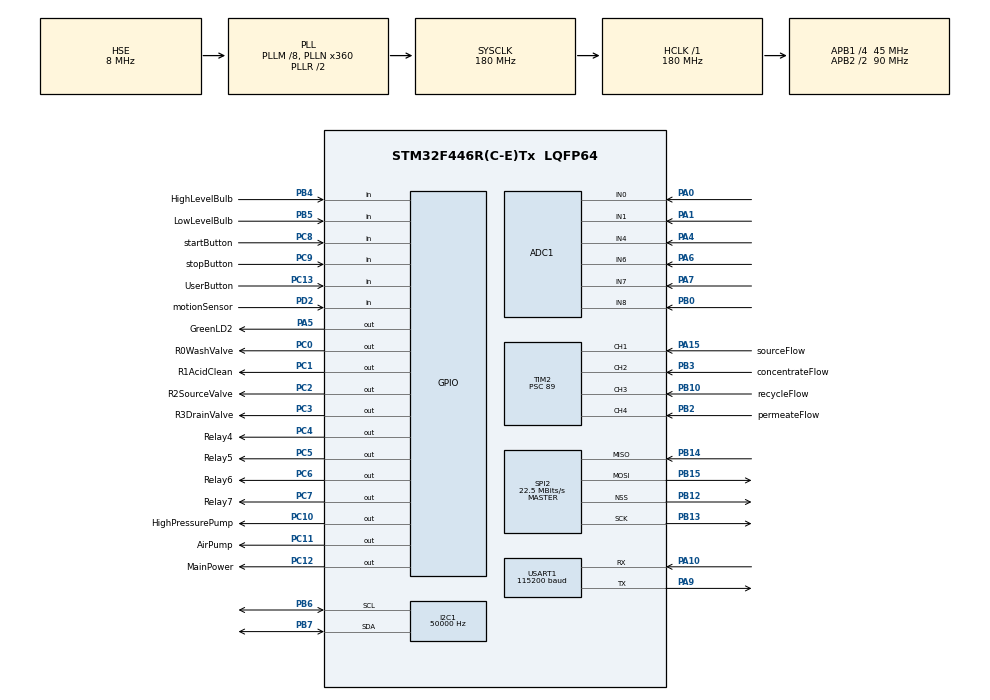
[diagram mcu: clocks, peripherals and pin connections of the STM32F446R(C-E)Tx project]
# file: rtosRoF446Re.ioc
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ADC1.Channel-0\#ChannelRegularConversion=ADC_CHANNEL_0
ADC1.Channel-1\#ChannelRegularConversion=ADC_CHANNEL_1
ADC1.Channel-2\#ChannelRegularConversion=ADC_CHANNEL_4
ADC1.Channel-3\#ChannelRegularConversion=ADC_CHANNEL_6
ADC1.Channel-4\#ChannelRegularConversion=ADC_CHANNEL_7
ADC1.Channel-5\#ChannelRegularConversion=ADC_CHANNEL_8
ADC1.ContinuousConvMode=ENABLE
ADC1.DMAContinuousRequests=ENABLE
ADC1.EOCSelection=ADC_EOC_SEQ_CONV
ADC1.NbrOfConversion=6
ADC1.NbrOfConversionFlag=1
ADC1.Rank-0\#ChannelRegularConversion=1
ADC1.Rank-1\#ChannelRegularConversion=2
ADC1.Rank-2\#ChannelRegularConversion=3
ADC1.Rank-3\#ChannelRegularConversion=4
ADC1.Rank-4\#ChannelRegularConversion=5
ADC1.Rank-5\#ChannelRegularConversion=6
ADC1.SamplingTime-0\#ChannelRegularConversion=ADC_SAMPLETIME_112CYCLES
ADC1.SamplingTime-1\#ChannelRegularConversion=ADC_SAMPLETIME_112CYCLES
ADC1.SamplingTime-2\#ChannelRegularConversion=ADC_SAMPLETIME_112CYCLES
ADC1.SamplingTime-3\#ChannelRegularConversion=ADC_SAMPLETIME_56CYCLES
ADC1.SamplingTime-4\#ChannelRegularConversion=ADC_SAMPLETIME_112CYCLES
ADC1.SamplingTime-5\#ChannelRegularConversion=ADC_SAMPLETIME_112CYCLES
ADC1.master=1
Dma.ADC1.0.Direction=DMA_PERIPH_TO_MEMORY
Dma.ADC1.0.FIFOMode=DMA_FIFOMODE_DISABLE
Dma.ADC1.0.Instance=DMA2_Stream0
Dma.ADC1.0.MemDataAlignment=DMA_MDATAALIGN_HALFWORD
Dma.ADC1.0.MemInc=DMA_MINC_ENABLE
Dma.ADC1.0.Mode=DMA_NORMAL
Dma.ADC1.0.PeriphDataAlignment=DMA_PDATAALIGN_HALFWORD
Dma.ADC1.0.PeriphInc=DMA_PINC_DISABLE
Dma.ADC1.0.Priority=DMA_PRIORITY_LOW
Dma.Request0=ADC1
FREERTOS.HEAP_NUMBER=4
FREERTOS.Tasks01=defaultTask,24,128,StartDefaultTask,Default,NULL,Dynamic,NULL,NULL;inputs,24,128,StartInputs,Default,NULL,Dynamic,NULL,NULL;adc,24,128,StartAdc,Default,NULL,Dynamic,NULL,NULL;getFlowsTask,24,128,StartGetFlows,Default,NULL,Dynamic,NULL,NULL;checkValues,24,500,StartCheckValues,Default,NULL,Dynamic,NULL,NULL;usart,24,500,StartUsart,Default,NULL,Dynamic,NULL,NULL;lcd,24,500,StartLcd,Default,NULL,Dynamic,NULL,NULL
FREERTOS.configCHECK_FOR_STACK_OVERFLOW=2
FREERTOS.configENABLE_FPU=1
FREERTOS.configGENERATE_RUN_TIME_STATS=0
FREERTOS.configMINIMAL_STACK_SIZE=128
FREERTOS.configTOTAL_HEAP_SIZE=15360
I2C1.ClockSpeed=50000
I2C1.I2C_Mode=I2C_Standard
I2C1.NoStretchMode=I2C_NOSTRETCH_DISABLE
IWDG.Prescaler=IWDG_PRESCALER_16
Mcu.Family=STM32F4
Mcu.Name=STM32F446R(C-E)Tx
Mcu.Package=LQFP64
NVIC.DMA2_Stream0_IRQn=true\:5\:0\:false\:false\:true\:true\:false\:true
NVIC.I2C1_ER_IRQn=true\:5\:0\:false\:false\:true\:true\:true\:true
NVIC.I2C1_EV_IRQn=true\:5\:0\:false\:false\:true\:true\:true\:true
NVIC.PriorityGroup=NVIC_PRIORITYGROUP_4
NVIC.TIM2_IRQn=true\:5\:0\:false\:false\:true\:true\:true\:true
NVIC.TIM6_DAC_IRQn=true\:0\:0\:false\:false\:true\:false\:false\:true
NVIC.TIM7_IRQn=true\:5\:0\:false\:false\:true\:true\:true\:true
NVIC.TimeBase=TIM6_DAC_IRQn
NVIC.TimeBaseIP=TIM6
NVIC.USART1_IRQn=true\:6\:0\:true\:false\:true\:true\:true\:true
PA0-WKUP.Signal=ADCx_IN0
PA1.Signal=ADCx_IN1
PA10.Mode=Asynchronous
PA10.Signal=USART1_RX
PA13.Mode=Serial_Wire
PA13.Signal=SYS_JTMS-SWDIO
PA14.Mode=Serial_Wire
PA14.Signal=SYS_JTCK-SWCLK
PA15.GPIO_Label=sourceFlow
PA15.GPIO_PuPd=GPIO_PULLDOWN
PA15.Signal=S_TIM2_CH1_ETR
PA4.Signal=ADCx_IN4
PA5.GPIO_Label=GreenLD2
PA5.Signal=GPIO_Output
PA6.Signal=ADCx_IN6
PA7.Signal=ADCx_IN7
PA9.Mode=Asynchronous
PA9.Signal=USART1_TX
PB0.Signal=ADCx_IN8
PB10.GPIO_Label=recycleFlow
PB10.GPIO_PuPd=GPIO_PULLDOWN
PB10.Signal=S_TIM2_CH3
PB12.Mode=NSS_Signal_Hard_Output
PB12.Signal=SPI2_NSS
PB13.Mode=Full_Duplex_Master
PB13.Signal=SPI2_SCK
PB14.Mode=Full_Duplex_Master
PB14.Signal=SPI2_MISO
PB15.Mode=Full_Duplex_Master
PB15.Signal=SPI2_MOSI
PB2.GPIO_Label=permeateFlow
PB2.GPIO_PuPd=GPIO_PULLDOWN
PB2.Signal=S_TIM2_CH4
PB3.GPIO_Label=concentrateFlow
PB3.GPIO_PuPd=GPIO_PULLDOWN
PB3.Signal=S_TIM2_CH2
PB4.GPIO_Label=HighLevelBulb
PB4.GPIO_PuPd=GPIO_PULLUP
PB4.Signal=GPIO_Input
PB5.GPIO_Label=LowLevelBulb
PB5.GPIO_PuPd=GPIO_PULLUP
PB5.Signal=GPIO_Input
PB6.GPIO_Pu=GPIO_PULLUP
PB6.GPIO_Speed=GPIO_SPEED_FREQ_MEDIUM
PB6.Mode=I2C
PB6.Signal=I2C1_SCL
PB7.GPIO_Pu=GPIO_PULLUP
PB7.GPIO_Speed=GPIO_SPEED_FREQ_MEDIUM
PB7.Mode=I2C
PB7.Signal=I2C1_SDA
PC0.GPIO_Label=R0WashValve
PC0.GPIO_PuPd=GPIO_PULLUP
PC0.PinState=GPIO_PIN_SET
PC0.Signal=GPIO_Output
PC1.GPIO_Label=R1AcidClean
PC1.GPIO_PuPd=GPIO_PULLUP
PC1.PinState=GPIO_PIN_SET
PC1.Signal=GPIO_Output
PC10.GPIO_Label=HighPressurePump
PC10.GPIO_PuPd=GPIO_PULLUP
PC10.PinState=GPIO_PIN_SET
PC10.Signal=GPIO_Output
PC11.GPIO_Label=AirPump
PC11.GPIO_PuPd=GPIO_PULLUP
PC11.PinState=GPIO_PIN_SET
PC11.Signal=GPIO_Output
PC12.GPIO_Label=MainPower
PC12.GPIO_PuPd=GPIO_PULLUP
PC12.PinState=GPIO_PIN_SET
PC12.Signal=GPIO_Output
PC13.GPIO_Label=UserButton
PC13.Signal=GPIO_Input
PC2.GPIO_Label=R2SourceValve
PC2.GPIO_PuPd=GPIO_PULLUP
PC2.PinState=GPIO_PIN_SET
PC2.Signal=GPIO_Output
PC3.GPIO_Label=R3DrainValve
PC3.GPIO_PuPd=GPIO_PULLUP
PC3.PinState=GPIO_PIN_SET
PC3.Signal=GPIO_Output
PC4.GPIO_Label=Relay4
PC4.GPIO_PuPd=GPIO_PULLUP
PC4.PinState=GPIO_PIN_SET
PC4.Signal=GPIO_Output
PC5.GPIO_Label=Relay5
PC5.GPIO_PuPd=GPIO_PULLUP
PC5.PinState=GPIO_PIN_SET
PC5.Signal=GPIO_Output
PC6.GPIO_Label=Relay6
PC6.GPIO_PuPd=GPIO_PULLUP
PC6.PinState=GPIO_PIN_SET
PC6.Signal=GPIO_Output
PC7.GPIO_Label=Relay7
PC7.GPIO_PuPd=GPIO_PULLUP
PC7.PinState=GPIO_PIN_SET
PC7.Signal=GPIO_Output
PC8.GPIO_Label=startButton
PC8.GPIO_PuPd=GPIO_PULLUP
PC8.Signal=GPIO_Input
PC9.GPIO_Label=stopButton
PC9.GPIO_PuPd=GPIO_PULLUP
PC9.Signal=GPIO_Input
PD2.GPIO_Label=motionSensor
PD2.GPIO_PuPd=GPIO_PULLDOWN
PD2.Signal=GPIO_Input
PH0-OSC_IN.Mode=HSE-External-Clock-Source
PH0-OSC_IN.Signal=RCC_OSC_IN
PH1-OSC_OUT.Mode=HSE-External-Clock-Source
PH1-OSC_OUT.Signal=RCC_OSC_OUT
ProjectManager.HeapSize=0x200
ProjectManager.StackSize=0x400
ProjectManager.TargetToolchain=STM32CubeIDE
RCC.AHBFreq_Value=180000000
RCC.APB1CLKDivider=RCC_HCLK_DIV4
RCC.APB1Freq_Value=45000000
RCC.APB1TimFreq_Value=90000000
RCC.APB2CLKDivider=RCC_HCLK_DIV2
RCC.APB2Freq_Value=90000000
RCC.APB2TimFreq_Value=180000000
RCC.CortexFreq_Value=180000000
RCC.HCLKFreq_Value=180000000
RCC.HSE_VALUE=8000000
RCC.PLLM=8
RCC.PLLN=360
RCC.PLLSourceVirtual=RCC_PLLSOURCE_HSE
RCC.RCC_RTC_Clock_SourceVirtual=RCC_RTCCLKSOURCE_LSE
RCC.SYSCLKFreq_VALUE=180000000
RCC.SYSCLKSource=RCC_SYSCLKSOURCE_PLLRCLK
RCC.USBFreq_Value=180000000
RCC.VCOOutputFreq_Value=360000000
SH.ADCx_IN0.0=ADC1_IN0,IN0
SH.ADCx_IN1.0=ADC1_IN1,IN1
SH.ADCx_IN4.0=ADC1_IN4,IN4
SH.ADCx_IN6.0=ADC1_IN6,IN6
SH.ADCx_IN7.0=ADC1_IN7,IN7
SH.ADCx_IN8.0=ADC1_IN8,IN8
SH.S_TIM2_CH1_ETR.0=TIM2_CH1,Input_Capture1_from_TI1
SH.S_TIM2_CH2.0=TIM2_CH2,Input_Capture2_from_TI2
SH.S_TIM2_CH3.0=TIM2_CH3,Input_Capture3_from_TI3
SH.S_TIM2_CH4.0=TIM2_CH4,Input_Capture4_from_TI4
SPI2.CalculateBaudRate=22.5 MBits/s
SPI2.Direction=SPI_DIRECTION_2LINES
SPI2.Mode=SPI_MODE_MASTER
SPI2.VirtualNSS=VM_NSSHARD
SPI2.VirtualType=VM_MASTER
TIM2.Channel-Input_Capture1_from_TI1=TIM_CHANNEL_1
TIM2.Channel-Input_Capture2_from_TI2=TIM_CHANNEL_2
TIM2.Channel-Input_Capture3_from_TI3=TIM_CHANNEL_3
TIM2.Channel-Input_Capture4_from_TI4=TIM_CHANNEL_4
TIM2.ICFilter_CH1=2
TIM2.ICFilter_CH2=2
TIM2.ICFilter_CH3=2
TIM2.ICFilter_CH4=2
TIM2.Prescaler=89
TIM2.TIM_MasterOutputTrigger=TIM_TRGO_UPDATE
TIM7.AutoReloadPreload=TIM_AUTORELOAD_PRELOAD_DISABLE
TIM7.Period=5000
TIM7.Prescaler=1800
TIM7.TIM_MasterOutputTrigger=TIM_TRGO_RESET
USART1.BaudRate=115200
USART1.VirtualMode=VM_ASYNC
VP_FREERTOS_VS_CMSIS_V2.Mode=CMSIS_V2
VP_IWDG_VS_IWDG.Mode=IWDG_Activate
VP_SYS_VS_tim6.Mode=TIM6
VP_TIM7_VS_ClockSourceINT.Mode=Enable_Timer
board=custom

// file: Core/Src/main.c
/* USER CODE BEGIN Header */
/**
  ******************************************************************************
  * @file           : main.c
  * @brief          : Main program body
  ******************************************************************************
  * @attention
  *
  * <h2><center>&copy; Copyright (c) 2020 STMicroelectronics.
  * All rights reserved.</center></h2>
  *
  * This software component is licensed by ST under BSD 3-Clause license,
  * the "License"; You may not use this file except in compliance with the
  * License. You may obtain a copy of the License at:
  *                        opensource.org/licenses/BSD-3-Clause
  *
  ******************************************************************************
  */
/* USER CODE END Header */
#include "main.h"
#include "cmsis_os.h"
#include "adc.h"
#include "dma.h"
#include "i2c.h"
#include "iwdg.h"
#include "spi.h"
#include "tim.h"
#include "usart.h"
#include "gpio.h"

/* USER CODE BEGIN PV */
I2C_HandleTypeDef hi2c1;
/* USER CODE END PV */

void SystemClock_Config(void);
void MX_FREERTOS_Init(void);

int main(void)
{

  /* MCU Configuration--------------------------------------------------------*/

  /* Reset of all peripherals, Initializes the Flash interface and the Systick. */
  HAL_Init();

  /* Configure the system clock */
  SystemClock_Config();

  /* Initialize all configured peripherals */
  MX_GPIO_Init();
  MX_DMA_Init();
  MX_ADC1_Init();
  MX_TIM2_Init();
  MX_USART1_UART_Init();
  MX_I2C1_Init();
  MX_SPI2_Init();
  MX_TIM7_Init();
  MX_IWDG_Init();

  /* Init scheduler */
  osKernelInitialize();  /* Call init function for freertos objects (in freertos.c) */
  MX_FREERTOS_Init();
  /* Start scheduler */
  osKernelStart();

  /* We should never get here as control is now taken by the scheduler */
  /* Infinite loop */
  while (1)
  {

  }
}

void SystemClock_Config(void)
{
  RCC_OscInitTypeDef RCC_OscInitStruct = {0};
  RCC_ClkInitTypeDef RCC_ClkInitStruct = {0};

  /** Configure the main internal regulator output voltage
  */
  __HAL_RCC_PWR_CLK_ENABLE();
  __HAL_PWR_VOLTAGESCALING_CONFIG(PWR_REGULATOR_VOLTAGE_SCALE1);
  /** Initializes the RCC Oscillators according to the specified parameters
  * in the RCC_OscInitTypeDef structure.
  */
  RCC_OscInitStruct.OscillatorType = RCC_OSCILLATORTYPE_LSI|RCC_OSCILLATORTYPE_HSE;
  RCC_OscInitStruct.HSEState = RCC_HSE_BYPASS;
  RCC_OscInitStruct.LSIState = RCC_LSI_ON;
  RCC_OscInitStruct.PLL.PLLState = RCC_PLL_ON;
  RCC_OscInitStruct.PLL.PLLSource = RCC_PLLSOURCE_HSE;
  RCC_OscInitStruct.PLL.PLLM = 8;
  RCC_OscInitStruct.PLL.PLLN = 360;
  RCC_OscInitStruct.PLL.PLLP = RCC_PLLP_DIV2;
  RCC_OscInitStruct.PLL.PLLQ = 2;
  RCC_OscInitStruct.PLL.PLLR = 2;
  if (HAL_RCC_OscConfig(&RCC_OscInitStruct) != HAL_OK)
  {
    Error_Handler();
  }
  /** Activate the Over-Drive mode
  */
  if (HAL_PWREx_EnableOverDrive() != HAL_OK)
  {
    Error_Handler();
  }
  /** Initializes the CPU, AHB and APB buses clocks
  */
  RCC_ClkInitStruct.ClockType = RCC_CLOCKTYPE_HCLK|RCC_CLOCKTYPE_SYSCLK
                              |RCC_CLOCKTYPE_PCLK1|RCC_CLOCKTYPE_PCLK2;
  RCC_ClkInitStruct.SYSCLKSource = RCC_SYSCLKSOURCE_PLLRCLK;
  RCC_ClkInitStruct.AHBCLKDivider = RCC_SYSCLK_DIV1;
  RCC_ClkInitStruct.APB1CLKDivider = RCC_HCLK_DIV4;
  RCC_ClkInitStruct.APB2CLKDivider = RCC_HCLK_DIV2;

  if (HAL_RCC_ClockConfig(&RCC_ClkInitStruct, FLASH_LATENCY_5) != HAL_OK)
  {
    Error_Handler();
  }
}

 /**
  * @brief  Period elapsed callback in non blocking mode
  * @note   This function is called  when TIM6 interrupt took place, inside
  * HAL_TIM_IRQHandler(). It makes a direct call to HAL_IncTick() to increment
  * a global variable "uwTick" used as application time base.
  * @param  htim : TIM handle
  * @retval None
  */
void HAL_TIM_PeriodElapsedCallback(TIM_HandleTypeDef *htim)
{
  if (htim->Instance == TIM6) {
    HAL_IncTick();
  }
  /* USER CODE BEGIN Callback 1 */
  else if (htim->Instance == TIM7){
	  //HAL_GPIO_TogglePin(GPIOA,GPIO_PIN_5);
	  tim7();
  }

  /* USER CODE END Callback 1 */
}

void Error_Handler(void)
{
  __disable_irq();
  while (1)
  {
  }
}

/************************ (C) COPYRIGHT STMicroelectronics *****END OF FILE****/

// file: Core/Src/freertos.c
/* USER CODE BEGIN Header */
/**
  ******************************************************************************
  * File Name          : freertos.c
  * Description        : Code for freertos applications
  ******************************************************************************
  * @attention
  *
  * <h2><center>&copy; Copyright (c) 2020 STMicroelectronics.
  * All rights reserved.</center></h2>
  *
  * This software component is licensed by ST under Ultimate Liberty license
  * SLA0044, the "License"; You may not use this file except in compliance with
  * the License. You may obtain a copy of the License at:
  *                             www.st.com/SLA0044
  *
  ******************************************************************************
  */
/* USER CODE END Header */

#include "FreeRTOS.h"
#include "task.h"
#include "main.h"
#include "cmsis_os.h"

/* USER CODE BEGIN Includes */
#include "adc.h"
#include "dma.h"
#include "i2c.h"

#include "tim.h"
#include "usart.h"
#include "gpio.h"
#include "startStopProcedure.h"
/* USER CODE END Includes */

/* USER CODE BEGIN PTD */

//////////////LCD Light On Off Flag
ui8 LCDOnOffFlag=1;
ui8 i2cErrorFlag=0;
//////////////Inputs button Float switches and motion sensor GPIOs
typedef struct
{
GPIO_TypeDef* Port;
uint16_t Pin;
uint16_t Count;
uint16_t Cycles;
GPIO_PinState activePinState;
uint8_t inputName;
uint8_t pinState;
} portStateTypedef;

//FrequencyCalculation//
uint8_t globalTim2Flag =0;
typedef struct
{
TIM_HandleTypeDef* tim;
uint32_t channel;
uint32_t CCRx[2];
float frequence;
uint8_t namePos;
uint8_t compFlag;
uint16_t liveTime;
uint8_t sensorType;
float flow;
}frequencyCalcTypedef;
//RatesCalculation//
typedef struct
{
float regectionRate;
float recyclingRate;
float membraneFlow;
}ratesCalculationTypedef;

typedef struct
{
_RTC timeDate;
float concentrateTDS;
float permeateTDS;
float reserved;
float waterTemp;
float soufcePressure;
float membranePressure;
float sourceFlow;
float drainFlow;
float recycleFlow;
float permeateFlow;
float membraneFlow;
float recyclingRate;
float permeateRate;
uint8_t userButtonS;
uint8_t startButtonS;
uint8_t stopButtonS;

uint8_t highLevelBulbS;
uint8_t lowLevelBulbS;
uint8_t motionSensorS;

/*
          sprintf(uartStringTimeDate,(char*)format,rtc.Hour, rtc.Min, rtc.Sec, rtc.DaysOfWeek, rtc.Month, rtc.Year);
          sprintf(lcdStringTds," Concentrate TDS %.2fppm   Permeate TDS %.2fppm " " Reserved %u ",getTds(adcAverageValues[0]),getTds(adcAverageValues[1]),adcAverageValues[2]);
		  float hpressure = getPressure(adcAverageValues[5],25,1.13);
		  sprintf(lcdStringTemp,"Water temp %.2f*C  Source pressure %.2f bar  Membrane pressure %.2f bar ",getTemp(adcAverageValues[3]),getPressure(adcAverageValues[4],5,1),hpressure);
		  sprintf(lcdStringFlow1,"Source %.1f l/m  Drain %.1f l/m Recyle %.1f l/m Permeate %.1f l/m",frequences[0].flow,frequences[1].flow,frequences[2].flow,frequences[3].flow);

		  sprintf(lcdStringRates,"Membrane Flow %.1f" "l/m " "Recycling rate %.1f%% ""Permeate rate %.1f%% ",rates.membraneFlow,rates.recyclingRate,rates.regectionRate);
          sprintf(usartStringPortStates,"User button %u Start button %u Stop button %u High level bulb %u Low level bulb %u Motion sensor %u ",portStates[0].pinState,portStates[1].pinState,portStates[2].pinState, portStates[3].pinState,portStates[4].pinState,portStates[5].pinState);
*/
}sensorValuesTypedef;

sensorValuesTypedef sensorValues = {0,};

_RTC rtc = {
    .Year = 20, .Month = 12, .Date = 22,
    .DaysOfWeek = FRIDAY,
    .Hour = 4, .Min = 31, .Sec = 10
};

uint8_t regVal;
float rtcTemp;

/* USER CODE END PTD */

/* USER CODE BEGIN Variables */

const char *formatsLong[] = {
		"%02d:%02d:%02d", "%02d.%02d.%2d","Concentrate TDS %.2fppm","Permeate TDS %.2fppm","Reserved %.2f",
		"Water temp %.2f*C","Source pressure %.2f bar","Membrane pressure %.2f bar",
		"Source %.2f l/m","Drain %.2f l/m","Recyle %.2f l/m","Permeate %.2f l/m",
		"Membrane Flow %.1f l/m ","Recycling rate %.1f%%","Permeate rate %.1f%%",
		"User button %u","Start button %u","Stop button %u","High level bulb %u","Low level bulb %u","Motion sensor %u"

};

const char *formatsShort[] = {
		"%02d:%02d:%02d  %02d.%02d.20%2d", //0
		"Atendado        TDS",//1
		"Concentrate %.1fppm",//2
		"Permeate %.1fppm   ",//3
		"Reserved %.2f      ",//4
		"Membr pres %.2f MPa",//5
		"Water temp %.2f C  ",//6
        "Feed press %.2f MPa",//7

		"Feed %.2f l/m       ",//8
		"Drain %.2f l/m      ",//9
		"Recycle %.2f l/m    ",//10
		"Permeate %.2f l/m   ",//11
		"Membrane %.2f l/m   ",//12
		"Recycling %.2f%%    ",//13
		"Permeate %.2f%%     ",//14
		"     Input states   ",//15
		"Blue button %u      ",//16
		"Start %u Stop %u    ",//17
		"High %u Low %u float",//18
		"Motion sensor %u    ",//19
		"En progreso      TDS", //20
		"Atendado  AUTO   TDS",//21
		"Atendado  MANUAL TDS",//22
		"En progreso AUTO TDS",//23
		"En progreso  MAN TDS"//24

};

//char stringArrau[80] = {0,};

char window[20][30] = {
       // 012345678901234567890123456789
		{"00:00:00   0.00.2000"},
		{"  row1              "},
		{"  row2              "},
		{"  row3              "},
	    {"  row4              "},
		{"  row5              "},
	    {"  row6              "},

};

//typedef struct
//{
	//uint8_t formatNum;
//	char param[20];

//}sensorVariaTypedef;

//sensorVariaTypedef sensorV[20];

//typedef struct
//{

//	ui8 x;
//	ui8 y;
//	ui8 length;
//char value[];
//}strSensorValuesTypedef;

//strSensorValuesTypedef stringSensorValues[20];

float sensorValuesArr[13]={0,};
uint8_t sensorValuesArrLenght = 13;

uint8_t i2cFlag=1;
uint8_t LCD_IniTryingInterval =2;
uint8_t LCD_IniTryingIntervalInitialValue = 20;

uint16_t cycles =500; //number of read input pin cycles to generate inputActiveLevel
portStateTypedef portStates[6] = {0};
uint16_t portStatesLenght = 6;
char lcdStringTime[20]={0,};
char lcdString[20]={0};
char lcdStringT[20]={0,};
char lcdStringTm[20]={0,};
char lcdStringF[20]={0,};
char lcdWindow[80][20]={0,};
char *str[20]={0,};
ui8 lcdWindowRenewalFlag=0;
uint8_t lcdWindowString[20]={0,};

uint8_t usartString[1000]={0,};
uint32_t usartStringLen = 1000;
char usartStringTmp[100] = {0,};
uint16_t timeRenovationPeriod = 100; // osDelau Units*10 (500)

uint8_t uartFlag=0;
char* timePtr=0;
char uartStringTimeDate[100]={0,};
char usartStringPortStates[100]={0,};
char lcdStringTds[100]={0,};
char lcdStringTemp[100]={0,};
char lcdStringFlow1[100]={0,};
char lcdStringRates[100]={0,};

////////////////////////////////////////////////////////////////////////////////////
frequencyCalcTypedef frequences[4]={0};
uint8_t frequencesLength = 4;
uint32_t sysClock = 180000000;
uint32_t dividend=1000000;
uint16_t timeUnactivityToClearFrequency = 10;//osDelay Units*10 1/100 sec
ratesCalculationTypedef rates={0};

//ADC
uint16_t adcChannelsValues[30]={0,};
uint32_t lengthOfAdcChannelsValues = 30;
uint8_t adcReadyFlag=0;
uint16_t adcAverageValues[6] = {0,};
uint8_t adcAverageValuesLength = 6;
uint16_t shiftedData[6]={0,};
uint32_t adc = 0;
uint32_t adcPr = 0;
uint32_t adcPr1 = 0;

//dif
uint16_t timeToBackLightOff = 60000;//osDelay Units*10 1/100 sec
uint16_t varTimeToBackLightOff=60000;

uint8_t highPressurePumpStartFlag=0;
uint8_t autoManStartFlag=0;

//usart Buffer
///uint8_t usartBuffer[50] ={0,};

/* USER CODE END Variables */
/* Definitions for defaultTask */
osThreadId_t defaultTaskHandle;
const osThreadAttr_t defaultTask_attributes = {
  .name = "defaultTask",
  .priority = (osPriority_t) osPriorityNormal,
  .stack_size = 128 * 4
};
/* Definitions for inputs */
osThreadId_t inputsHandle;
const osThreadAttr_t inputs_attributes = {
  .name = "inputs",
  .priority = (osPriority_t) osPriorityNormal,
  .stack_size = 128 * 4
};
/* Definitions for adc */
osThreadId_t adcHandle;
const osThreadAttr_t adc_attributes = {
  .name = "adc",
  .priority = (osPriority_t) osPriorityNormal,
  .stack_size = 128 * 4
};
/* Definitions for getFlowsTask */
osThreadId_t getFlowsTaskHandle;
const osThreadAttr_t getFlowsTask_attributes = {
  .name = "getFlowsTask",
  .priority = (osPriority_t) osPriorityNormal,
  .stack_size = 128 * 4
};
/* Definitions for checkValues */
osThreadId_t checkValuesHandle;
const osThreadAttr_t checkValues_attributes = {
  .name = "checkValues",
  .priority = (osPriority_t) osPriorityNormal,
  .stack_size = 500 * 4
};
/* Definitions for usart */
osThreadId_t usartHandle;
const osThreadAttr_t usart_attributes = {
  .name = "usart",
  .priority = (osPriority_t) osPriorityNormal,
  .stack_size = 500 * 4
};
/* Definitions for lcd */
osThreadId_t lcdHandle;
const osThreadAttr_t lcd_attributes = {
  .name = "lcd",
  .priority = (osPriority_t) osPriorityNormal,
  .stack_size = 500 * 4
};

/* USER CODE BEGIN FunctionPrototypes */
void checkPort(portStateTypedef* portState, uint16_t cycles);
uint16_t getArray_getMedian(uint16_t* dataForShift,u16 dataShift,u16 shiftIndex, u16 dataLen);
uint16_t getMedianNum(uint16_t* bArray, uint16_t iFilterLen);
/* USER CODE END FunctionPrototypes */

void StartDefaultTask(void *argument);
void StartInputs(void *argument);
void StartAdc(void *argument);
void StartGetFlows(void *argument);
void StartCheckValues(void *argument);
void StartUsart(void *argument);
void StartLcd(void *argument);

void MX_FREERTOS_Init(void); /* (MISRA C 2004 rule 8.1) */

/* Hook prototypes */
void vApplicationStackOverflowHook(xTaskHandle xTask, signed char *pcTaskName);

/* USER CODE BEGIN 4 */
void vApplicationStackOverflowHook(xTaskHandle xTask, signed char *pcTaskName)
{
   /* Run time stack overflow checking is performed if
   configCHECK_FOR_STACK_OVERFLOW is defined to 1 or 2. This hook function is
   called if a stack overflow is detected. */
}
/* USER CODE END 4 */

void MX_FREERTOS_Init(void) {

  /* Create the thread(s) */
  /* creation of defaultTask */
  defaultTaskHandle = osThreadNew(StartDefaultTask, NULL, &defaultTask_attributes);

  /* creation of inputs */
  inputsHandle = osThreadNew(StartInputs, NULL, &inputs_attributes);

  /* creation of adc */
  adcHandle = osThreadNew(StartAdc, NULL, &adc_attributes);

  /* creation of getFlowsTask */
  getFlowsTaskHandle = osThreadNew(StartGetFlows, NULL, &getFlowsTask_attributes);

  /* creation of checkValues */
  checkValuesHandle = osThreadNew(StartCheckValues, NULL, &checkValues_attributes);

  /* creation of usart */
  usartHandle = osThreadNew(StartUsart, NULL, &usart_attributes);

  /* creation of lcd */
  lcdHandle = osThreadNew(StartLcd, NULL, &lcd_attributes);

}

/* USER CODE BEGIN Header_StartDefaultTask */
/**
  * @brief  Function implementing the defaultTask thread.
  * @param  argument: Not used
  * @retval None
  */
 void toggleFlag(uint8_t flag)
 {
	 if(flag == 0) {flag =1;} else if (flag==1){flag =0;}
 }

/* USER CODE END Header_StartDefaultTask */
void StartDefaultTask(void *argument)
{
  /* USER CODE BEGIN StartDefaultTask */

  /* Infinite loop */
  for(;;)
  {

	  if(portStates[0].pinState ==1 && portStates[2].pinState==1)
	  {

		  if(autoManStartFlag == 0) {autoManStartFlag =1;osDelay(3000);} else {autoManStartFlag=0;osDelay(3000);}

	  } // Set manual or set auto start when when the set time comes

	  if(portStates[3].pinState ==0 && portStates[4].pinState==1 && !getStateStartStop() && autoManStartFlag ==1)
	  {
		  if(rtc.Hour>=23)
		  {
			  start();
		  }
		  if(rtc.Hour<6)
		  {
			  start();
		  }
	  }

	  if(portStates[3].pinState !=0 && getStateStartStop()==3){stop();} // HighLevelfloat
	  if(portStates[1].pinState==1 && portStates[3].pinState==0 && getStateStartStop()==0){start();}
	  if(portStates[2].pinState==1 && getStateStartStop()==3){stop();}

	  //if(portStates[1].pinState==1 && portStates[2].pinState==1){emergencyStop();}

    osDelay(1);
  }
  /* USER CODE END StartDefaultTask */
}

void StartInputs(void *argument)
{
  /* USER CODE BEGIN StartInputs */

portStates[0].Pin = UserButton_Pin;
portStates[0].Port=UserButton_GPIO_Port;
portStates[0].activePinState = GPIO_PIN_RESET;
portStates[0].inputName = userButton;
portStates[0].Cycles =10;
portStates[1].Pin = startButton_Pin;
portStates[1].Port =  startButton_GPIO_Port;
portStates[1].activePinState = GPIO_PIN_RESET;
portStates[1].inputName = startButton;
portStates[1].Cycles = cycles;
portStates[2].Pin = stopButton_Pin;
portStates[2].Port = stopButton_GPIO_Port;
portStates[2].activePinState = GPIO_PIN_RESET;
portStates[2].inputName = stopButton;
portStates[2].Cycles = cycles;
portStates[3].Pin = HighLevelBulb_Pin;
portStates[3].Port = HighLevelBulb_GPIO_Port;
portStates[3].activePinState = GPIO_PIN_SET;
portStates[3].inputName = highLevelBulb;
portStates[3].Cycles = cycles;
portStates[4].Pin = LowLevelBulb_Pin;
portStates[4].Port = LowLevelBulb_GPIO_Port;
portStates[4].activePinState = GPIO_PIN_RESET;
portStates[4].inputName = lowLevelBulb;
portStates[4].Cycles = cycles;
portStates[5].Pin = motionSensor_Pin;
portStates[5].Port = motionSensor_GPIO_Port;
portStates[5].activePinState = GPIO_PIN_SET;
portStates[5].inputName = motionSensor;
portStates[5].Cycles = cycles;
  /* Infinite loop */
  for(;;)
  {

	 for (uint16_t i=0;i<portStatesLenght;i++)
	 {
		 checkPort(&portStates[i],portStates[i].Cycles);
	 }

	 //if(portStates[1].pinState==1 && portStates[2].pinState==1){emergencyStop();}

osDelay(1);

  }

  /* USER CODE END StartInputs */
}

/* USER CODE BEGIN Header_StartAdc */
/**
* @brief Function implementing the adc thread.
* @param argument: Not used
* @retval None
*/
uint16_t getArray_getMedian(uint16_t* dataForShift,u16 dataPositionInArray,u16 dataPeriodInArray, u16 dataLen){

	//uint16_t shiftedData[dataLen]={0,};
	for(uint16_t i =0; i<dataLen;i++){
		shiftedData[i]=dataForShift[(i*dataPeriodInArray) + dataPositionInArray];
	}
	return getMedianNum(shiftedData, dataLen);

}

uint16_t getMedianNum(uint16_t* bArray, uint16_t iFilterLen)
{
      uint16_t bTab[iFilterLen];
      for (uint8_t i = 0; i<iFilterLen; i++)
      bTab[i] = bArray[i];
      uint16_t i, j, bTemp;
      for (j = 0; j < iFilterLen - 1; j++)
      {
      for (i = 0; i < iFilterLen - j - 1; i++)
          {
        if (bTab[i] > bTab[i + 1])
            {
        bTemp = bTab[i];
            bTab[i] = bTab[i + 1];
        bTab[i + 1] = bTemp;
         }
      }
      }
      if ((iFilterLen & 1) > 0)
    bTemp = bTab[(iFilterLen - 1) / 2];
      else
    bTemp = (bTab[iFilterLen / 2] + bTab[iFilterLen / 2 - 1]) / 2;
      return bTemp;
}

/* USER CODE END Header_StartAdc */
void StartAdc(void *argument)
{
  /* USER CODE BEGIN StartAdc */
	if(HAL_ADC_Start_DMA(&hadc1, (uint32_t*)&adcChannelsValues, lengthOfAdcChannelsValues)!= HAL_OK){LCD_String("Error");};
  /* Infinite loop */
  for(;;)
  {
	  if(adcReadyFlag!=0)
	  {
		  adcReadyFlag = 0;
        //LCD_String("ADC");
		  	 	  	   adcAverageValues[0] = getArray_getMedian(adcChannelsValues,0,6,5);//average(adcChannelsValues,0);//(uint16_t)(adcChannelsValues[5]);CH0 TDS Concentrate 0-3.3v
		  	 	  	   adcAverageValues[1] = getArray_getMedian(adcChannelsValues,1,6,5);//average(adcChannelsValues,1);//(uint16_t)adcChannelsValues[6]; CH1 TDS Permeate 0-3.3v
		  	 	  	   adcAverageValues[2] = getArray_getMedian(adcChannelsValues,2,6,5);//average(adcChannelsValues,2);//(uint16_t)adcChannelsValues[7]; CH4 Reserved for  Before source Pressure 4-20 mA
		  	 	  	   adcAverageValues[3] = getArray_getMedian(adcChannelsValues,3,6,5);//average(adcChannelsValues,3);//(uint16_t)adcChannelsValues[8]; CH6 Temp 23-172 kOm to 3.3v
		  	 	  	   adcAverageValues[4] = getArray_getMedian(adcChannelsValues,4,6,5);//average(adcChannelsValues,4);//(uint16_t)adcChannelsValues[9]; CH7 Source Pressure 4-20 mA
		  	 	  	   adcAverageValues[5] = getArray_getMedian(adcChannelsValues,5,6,5);//average(adcChannelsValues,4);//(uint16_t)adcChannelsValues[9]; CH8 High Pressure 4-20 mA
		  	 	  	   __HAL_ADC_CLEAR_FLAG(&hadc1, EOF);
		  	 	  	 if(HAL_ADC_Start_DMA(&hadc1, (uint32_t*)&adcChannelsValues, lengthOfAdcChannelsValues)!=HAL_OK){LCD_String("Error");};
		  	 	  	// LCD_String("ADC");
	  }
	 // sprintf(lcdString,"%lu",HAL_ADC_GetError(&hadc1));
	  //LCD_String(lcdString);

      osDelay(1000);
  }
  /* USER CODE END StartAdc */
}

/* USER CODE BEGIN Header_StartGetFlows */
/**
* @brief Function implementing the getFlowsTask thread.
* @param argument: Not used
* @retval None
*/
void ratesCalculation(void)
{
if(frequences[0].flow>0){
rates.regectionRate = (frequences[3].flow*100)/frequences[0].flow;
rates.recyclingRate = (frequences[2].flow*100)/frequences[0].flow;
rates.membraneFlow = frequences[0].flow + frequences[2].flow;
}
}

void frequencyCalc(frequencyCalcTypedef* fr)
{
fr->frequence = dividend /((fr->CCRx[1]-fr->CCRx[0])*1.0);
switch(fr->sensorType)
{
case 1 : {fr->flow = (frequences[0].flow/(frequences[1].frequence+frequences[3].frequence))*fr->frequence;}//{fr->flow = fr->frequence/11;break;}
case 2 : {fr->flow = fr->frequence/6.6;break;}
case 3 : {fr->flow = (fr->frequence+8)/6;break;}
}
ratesCalculation();
}

void getCapturedValue(frequencyCalcTypedef* fr)
{
	fr->CCRx[0]=fr->CCRx[1];
	fr->CCRx[1]=HAL_TIM_ReadCapturedValue(fr->tim,fr->channel);
	fr->liveTime = timeUnactivityToClearFrequency;
	fr->compFlag=0;
}

/* USER CODE END Header_StartGetFlows */
void StartGetFlows(void *argument)
{
  /* USER CODE BEGIN StartGetFlows */

	HAL_TIM_Base_Start_IT(&htim2);
	HAL_TIM_IC_Start_IT(&htim2, TIM_CHANNEL_1);
	HAL_TIM_IC_Start_IT(&htim2, TIM_CHANNEL_2);
	HAL_TIM_IC_Start_IT(&htim2, TIM_CHANNEL_3);
	HAL_TIM_IC_Start_IT(&htim2, TIM_CHANNEL_4);
	frequences[0].channel = TIM_CHANNEL_1; // Source
	frequences[0].tim = &htim2;
	frequences[0].sensorType = 3; //G 1"
	frequences[1].channel = TIM_CHANNEL_2; // drain
	frequences[1].tim = &htim2;
	frequences[1].sensorType = 1; //G 1/2
	frequences[2].channel = TIM_CHANNEL_3; // recycle
	frequences[2].tim = &htim2;
	frequences[2].sensorType = 2; //G 3/4
	frequences[3].channel = TIM_CHANNEL_4; //permeate
	frequences[3].tim = &htim2;
	frequences[3].sensorType = 1; //G 1/2
  /* Infinite loop */
  for(;;)
  {
	  if(globalTim2Flag)
		  {
		  	  globalTim2Flag=0;
			  for(uint8_t q =0; q< frequencesLength;q++)
				  {
					  if(frequences[q].compFlag!=0){getCapturedValue(&frequences[q]);}
				  }
		  }

	  if(portStates[1].pinState==1 && portStates[2].pinState==1){emergencyStop();}
    osDelay(1);
  }
  /* USER CODE END StartGetFlows */
}

/* USER CODE BEGIN Header_StartCheckValues */
/**
* @brief Function implementing the checkValues thread.
* @param argument: Not used
* @retval None
*/
uint8_t getHighPressurePumpStartFlag(void)
{
return highPressurePumpStartFlag;
}

/* USER CODE END Header_StartCheckValues */
void StartCheckValues(void *argument)
{
  /* USER CODE BEGIN StartCheckValues */
	uint16_t aw =0;

  /* Infinite loop */
  for(;;)
  {

	      taskENTER_CRITICAL( );

	  	  	  sensorValuesArr[0] = getTds(adcAverageValues[0]);//concentrateTDS
	  		  sensorValuesArr[1] = getTds(adcAverageValues[1]);//permeateTDS
	  		  sensorValuesArr[2] = (float)adcAverageValues[2];//reserved
	  		  sensorValuesArr[3] = getPressure(adcAverageValues[5],2.5,1);//membranePressure
	  		  sensorValuesArr[4] = getTemp(adcAverageValues[3]);//waterTemp
	  	      sensorValuesArr[5] = getPressure(adcAverageValues[4],0.5,1);//sourcePressure
	  	      frequencyCalc(&frequences[0]);
	  		  sensorValuesArr[6] = frequences[0].flow;//sourceFlow
	  		  frequencyCalc(&frequences[1]);
	  		  sensorValuesArr[7] = frequences[1].flow;//drainFlow
	  		  frequencyCalc(&frequences[2]);
	  		  sensorValuesArr[8] = frequences[2].flow;//recycleFlow
	  		  frequencyCalc(&frequences[3]);
	  		  sensorValuesArr[9] = frequences[3].flow;//permeateFlow
	  		  sensorValuesArr[10] = rates.membraneFlow;
	  		  sensorValuesArr[11] = rates.recyclingRate;
	  		  sensorValuesArr[12] = rates.regectionRate;

	  		      sprintf(&window[0][0],(char*)formatsShort[0],rtc.Hour,rtc.Min,rtc.Sec,rtc.Date,rtc.Month,rtc.Year);

	  			  if(getStateStartStop()==0)
	  			  {
	  				  if(autoManStartFlag==0){sprintf(&window[1][0],(char*)formatsShort[22]);}else{sprintf(&window[1][0],(char*)formatsShort[21]);}
	  			  }
	  			  else
	  			  {
	  				if(autoManStartFlag==0){sprintf(&window[1][0],(char*)formatsShort[24]);}else{sprintf(&window[1][0],(char*)formatsShort[23]);}
	  				  //sprintf(&window[1][0],(char*)formatsShort[20]);
	  			  }

	  			          for (ui8 x=2; x<sensorValuesArrLenght+2;x++)
	  			          {
	  			        	  sprintf(&window[x][0],(char*)formatsShort[x],sensorValuesArr[x-2]);
	  			          }

	  			  sprintf(&window[15][0],(char*)formatsShort[15]);
	  			  sprintf(&window[16][0],(char*)formatsShort[16],portStates[0].pinState);
	  			  sprintf(&window[17][0],(char*)formatsShort[17],portStates[1].pinState,portStates[2].pinState);
	  			  sprintf(&window[18][0],(char*)formatsShort[18],portStates[3].pinState,portStates[4].pinState);
	  			  sprintf(&window[19][0],(char*)formatsShort[19],portStates[5].pinState);

	  			  if(getStateStartStop()==3 && getStartStage() ==0) ///////////////////////////////////// In progreso parameter check
	  				  {

	  					  if(sensorValuesArr[5]<0.2){emergencyStop();} //Check source pressure
	  					 if(sensorValuesArr[3]<1 || sensorValuesArr[3] >1.95 ) {emergencyStop();}  // Check membrane pressure
	  				  }
	  			 if(sensorValuesArr[5]<0.2){highPressurePumpStartFlag =0;}else{highPressurePumpStartFlag=1;}

	  			  ////////////////////////////////////////////////////////////////////////////////////////////////

	  	  taskEXIT_CRITICAL( );

	  		  //sensorV[0].formatNum = 0;
	  		  //sprintf((char*)sensorV[0].param,(char*)formatsShort[(sensorV[0].formatNum)],rtc.Hour,rtc.Min,rtc.Sec,rtc.Date,rtc.Month,rtc.Year);

	  		  /*
	  		   *portStates[0].Pin = UserButton_Pin;
				portStates[0].Port=UserButton_GPIO_Port;
				portStates[0].activePinState = GPIO_PIN_RESET;
				portStates[0].inputName = userButton;
				portStates[1].Pin = startButton_Pin;
				portStates[1].Port =  startButton_GPIO_Port;
				portStates[1].activePinState = GPIO_PIN_RESET;
				portStates[1].inputName = startButton;
				portStates[2].Pin = stopButton_Pin;
				portStates[2].Port = stopButton_GPIO_Port;
				portStates[2].activePinState = GPIO_PIN_RESET;
				portStates[2].inputName = stopButton;
				portStates[3].Pin = HighLevelBulb_Pin;
				portStates[3].Port = HighLevelBulb_GPIO_Port;
				portStates[3].activePinState = GPIO_PIN_SET;
				portStates[3].inputName = highLevelBulb;
				portStates[4].Pin = LowLevelBulb_Pin;
				portStates[4].Port = LowLevelBulb_GPIO_Port;
				portStates[4].activePinState = GPIO_PIN_RESET;
				portStates[4].inputName = lowLevelBulb;
				portStates[5].Pin = motionSensor_Pin;
				portStates[5].Port = motionSensor_GPIO_Port;
				portStates[5].activePinState = GPIO_PIN_SET;
				portStates[5].inputName = motionSensor;
	  		   */

	if (aw >= timeRenovationPeriod)
	{
		aw=0;

	}
	else
	{
		aw++;
	}

    if(varTimeToBackLightOff <=0)   // && LCD_getBackLightState()!=0)
    {
    	LCDOnOffFlag = 0;
    	//LCD_offLed();
    }
    else if(varTimeToBackLightOff>0)
    {
    	varTimeToBackLightOff--;
    	LCDOnOffFlag=1;
    }
    if(portStates[5].pinState==1){varTimeToBackLightOff = timeToBackLightOff;}
    if(portStates[0].pinState==1){varTimeToBackLightOff = timeToBackLightOff;}
    for(uint16_t y=0;y<frequencesLength;y++)
    {
    	if(frequences[y].liveTime<=0){frequences[y].frequence=0;frequences[y].flow=0;}else{frequences[y].liveTime--;}
        //HAL_GPIO_TogglePin(GPIOA,GPIO_PIN_5);
        //osDelay(100);
    }
    if(frequences[0].flow<=0){rates.membraneFlow=0;rates.recyclingRate=0;rates.regectionRate=0;}

    osDelay(10);

  }
  /* USER CODE END StartCheckValues */
}

/* USER CODE BEGIN Header_StartUsart */
/**
* @brief Function implementing the usart thread.
* @param argument: Not used
* @retval None
* */
void HAL_UART_TxCpltCallback(UART_HandleTypeDef *huart)
{

 if(huart->Instance ==USART1){uartFlag=0;};

}

/* USER CODE END Header_StartUsart */
void StartUsart(void *argument)
{
  /* USER CODE BEGIN StartUsart */
	//ui8 zero[2]={10,13};
  /* Infinite loop */

	  for(;;)
	    {

		 //if(uartFlag==0){
          //uartFlag=1;
		  /*
          for(ui8 q=0;q<20;q++){

          				   while (HAL_UART_GetState(&huart1) != HAL_UART_STATE_READY){};
                           if ( HAL_UART_Transmit_IT(&huart1,(uint8_t*)&window[q][0],20)!=HAL_OK){}
                           osDelay(20);
                           while (HAL_UART_GetState(&huart1) != HAL_UART_STATE_READY){};
                           osDelay(10);
                           if ( HAL_UART_Transmit_IT(&huart1,(uint8_t*)zero,2)!=HAL_OK){}
          }
          */
          HAL_IWDG_Refresh(&hiwdg);
		  osDelay(30);

	   }

  /* USER CODE END StartUsart */
}

/* USER CODE BEGIN Header_StartLcd */
/**
* @brief Function implementing the lcd thread.
* @param argument: Not used
* @retval None
*/
void tim7(void)
{
	//HAL_GPIO_TogglePin(GPIOA,GPIO_PIN_5);
	lcdWindowRenewalFlag=1;
}

void HAL_I2C_ErrorCallback(I2C_HandleTypeDef *hi2c)
{
  /* Prevent unused argument(s) compilation warning */
	if(hi2c->Instance==I2C1){i2cErrorFlag=1;};
	HAL_GPIO_TogglePin(GPIOA,GPIO_PIN_5);
	        //osDelay(100);
  /* NOTE : This function should not be modified, when the callback is needed,
            the HAL_I2C_ErrorCallback could be implemented in the user file
   */
}

void HAL_I2C_MasterTxCpltCallback(I2C_HandleTypeDef *hi2c)
{
  /* Prevent unused argument(s) compilation warning */
  if(hi2c->Instance==I2C1){i2cFlag=1;};

  /* NOTE : This function should not be modified, when the callback is needed,
            the HAL_I2C_MasterTxCpltCallback could be implemented in the user file
   */
}
void setLCDOnOffFlag(void){LCDOnOffFlag = 1;}

/* USER CODE END Header_StartLcd */
void StartLcd(void *argument)
{
  /* USER CODE BEGIN StartLcd */
  /* Infinite loop */

	HAL_TIM_Base_Start_IT(&htim7);

	LCD_ini();
	DS3231_Init(&hi2c1);
	ui8 shift =0;

	//DS3231_SetTime(&rtc);

			  /* Configure Alarm1 */
 			  //DS3231_ClearAlarm1();
			  //DS3231_SetAlarm1(ALARM_MODE_ONCE_PER_SECOND, 0, 0, 0, 0);
			  //DS3231_SetAlarm1(ALARM_MODE_SEC_MATCHED, 0, 0, 0, 30);

	                // DS3231_GetTime(&rtc);
			 	 	 //DS3231_ReadTemperature(&rtcTemp);
			 	 	 //ReadRegister(DS3231_REG_STATUS, &regVal);
				    //  if(regVal & DS3231_STA_A1F)
				    //  {
				    //    regVal &= ~DS3231_STA_A1F;
				    //    WriteRegister(DS3231_REG_STATUS, regVal);
				    //  }

  for(;;)
  {

	  //if (getStateStartStop()!=0 && LCD_getBackLightState()==0){LCD_onLed();}
	  if (LCDOnOffFlag==1 && getStateStartStop()==0 && LCD_getBackLightState()==0 && i2cErrorFlag==0)
	 	  {
	 			 LCD_onLed();

	 	  }

		  if(i2cErrorFlag==1)
	  {
		  MX_I2C1_Init();
		  LCD_ini();
		  DS3231_Init(&hi2c1);
		  i2cErrorFlag=0;
	  }

	  if(LCDOnOffFlag == 0 && getStateStartStop()==0 && LCD_getBackLightState()==1){ LCD_offLed(); }

	     if(lcdWindowRenewalFlag==1 && getInStart()==0 && getInStop()==0)
	     {

	    	if (i2cFlag){i2cFlag=0; DS3231_GetTime(&rtc);}

            if (shift>=17){shift=0;}
				 for(ui8 q=0;q<4;q++){
					 //taskENTER_CRITICAL( );
					 LCD_StringPos(&window[q+shift][0],0,q);
					 //taskEXIT_CRITICAL( );
					 osDelay(5);

				 }

		    if(portStates[0].pinState ==1)
		    {
		    shift++;

		    }

	    	 lcdWindowRenewalFlag =0;

	    }

	  HAL_IWDG_Refresh(&hiwdg);
	  osDelay(10);
  }
  /* USER CODE END StartLcd */
}

/* USER CODE BEGIN Application */
ui8 getCircularIndex(ui8 index)
{
if(index <=79){return index;}else{return index-80;}

}

void HAL_TIM_IC_CaptureCallback(TIM_HandleTypeDef *htim) // колбек по захвату
{
      if (htim->Instance == TIM2){
    	  	globalTim2Flag=1;
        	if(htim->Channel == HAL_TIM_ACTIVE_CHANNEL_1){frequences[0].compFlag=1;}
        	else if(htim->Channel == HAL_TIM_ACTIVE_CHANNEL_2){frequences[1].compFlag=1;}
        	else if(htim->Channel == HAL_TIM_ACTIVE_CHANNEL_3){frequences[2].compFlag=1;}
        	else if(htim->Channel == HAL_TIM_ACTIVE_CHANNEL_4){frequences[3].compFlag=1;}

        }
}

void HAL_ADC_ConvCpltCallback(ADC_HandleTypeDef* hadc)
{

	//LCD_String("12345");
	HAL_ADC_Stop(&hadc1);
	//HAL_ADC_Stop_DMA(&hadc1);
	adcReadyFlag =1;
	//HAL_GPIO_TogglePin(GPIOA,GPIO_PIN_5);
	//osDelay(500);

}
void checkPort(portStateTypedef* portState, uint16_t cycles)
{

		if(HAL_GPIO_ReadPin(portState->Port,portState->Pin) != portState->activePinState)
		{
			portState->Count=0; portState->pinState=0;
		}
		else
		{
			if(portState->Count >= cycles)
			{
				portState->pinState = 1;
			}
			else
				{

				if (portState->Count < cycles) {portState->Count++;}
				}
		}

}

//float getSourcePressure(){return getPressure(adcAverageValues[4],5,1);}
uint8_t getPortState(uint8_t port){return portStates[port].pinState;}

/* USER CODE END Application */

/************************ (C) COPYRIGHT STMicroelectronics *****END OF FILE****/
